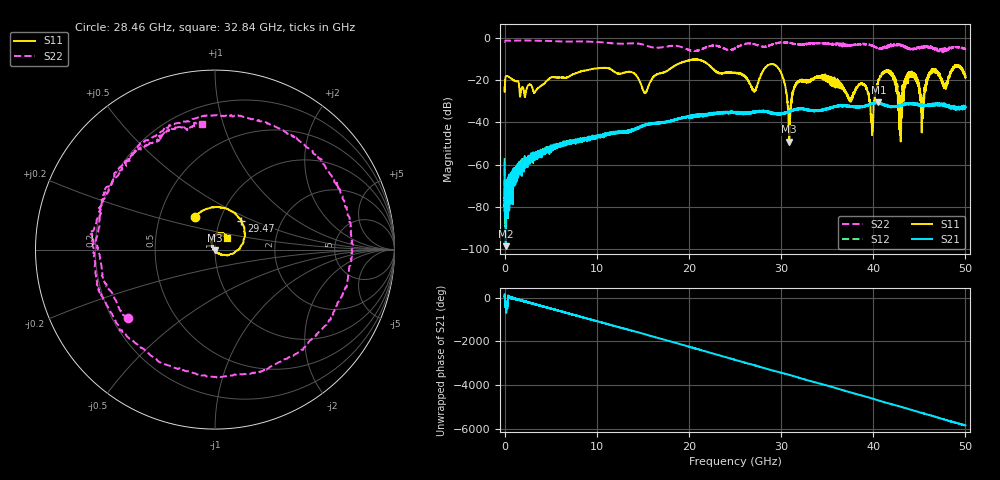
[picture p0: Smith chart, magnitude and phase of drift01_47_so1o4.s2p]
!Created with skrf (http://scikit-rf.org).
# Hz S RI R 50.0
!freq ReS11 ImS11 ReS21 ImS21 ReS12 ImS12 ReS22 ImS22
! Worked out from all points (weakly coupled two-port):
!   10001 points, 300 kHz to 50 GHz, reference 50 ohm
!   highest |S21| = -30.60 dB at 40.56 GHz (marker M1); lowest = -98.5 dB at 125.3 MHz (marker M2)
!   lowest |S11| = -49.2 dB at 30.87 GHz (marker M3), VSWR 1.01, Z = 50 - j0.347 ohm
!   |S11| at or under -10 dB: start of sweep to end of sweep
!   |S22| runs from -6.9 to -1.4 dB; largest |S21 - S12| = 0.0036
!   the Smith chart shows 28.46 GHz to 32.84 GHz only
!   S11 on the Smith chart (normalised r, x): 28.46 GHz: 0.75, +0.28; 29.47 GHz: 1.27, +0.42; 32.84 GHz: 1.13, +0.14
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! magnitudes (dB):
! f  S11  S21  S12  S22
! 300 kHz  -23.5  -59.2  -56.9  -2.1
! 125.3 MHz  -18.4  -98.5  -87.2  -1.5
! 8.335 GHz  -15.9  -48.5  -48.1  -1.8
! 15.23 GHz  -26.2  -41.1  -41.2  -3.6
! 16.67 GHz  -17.1  -40.3  -40.4  -4.9
! 25 GHz  -16.7  -35.3  -35.4  -5.1
! 27.11 GHz  -25.2  -35.6  -35.2  -3.2
! 28.46 GHz  -13.4  -34.9  -35.2  -4.2
! 29.47 GHz  -13.3  -36.0  -35.9  -2.7
! 30.87 GHz  -49.2  -34.7  -35.0  -2.5
! 31.62 GHz  -22.0  -33.7  -33.9  -3.1
! 32.84 GHz  -20.8  -34.0  -34.2  -3.1
! 33.34 GHz  -19.9  -34.4  -34.4  -2.6
! 38.92 GHz  -22.3  -32.7  -32.6  -3.0
! 39.89 GHz  -42.1  -31.1  -31.1  -3.8
! 40.56 GHz  -20.3  -30.6  -31.0  -5.2
! 41.67 GHz  -16.2  -32.2  -32.3  -4.4
! 42.9 GHz  -34.9  -32.1  -31.9  -3.4
! 44.07 GHz  -18.0  -31.2  -31.0  -5.3
! 45.31 GHz  -33.9  -31.7  -32.0  -4.4
! 46.46 GHz  -15.2  -31.5  -31.7  -5.1
! 50 GHz  -18.2  -33.0  -33.4  -5.4
